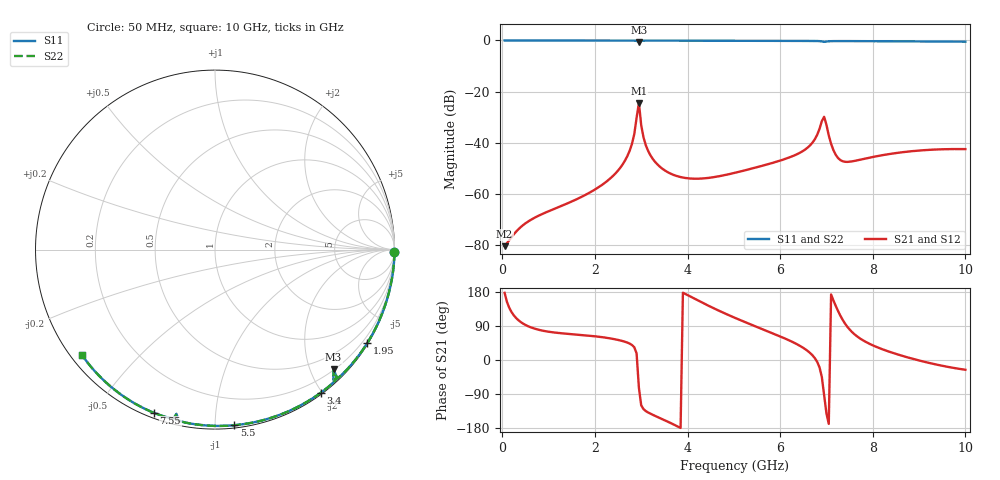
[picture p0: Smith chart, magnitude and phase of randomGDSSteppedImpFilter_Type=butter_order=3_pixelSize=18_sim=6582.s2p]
! freq	dB(S11)	phase(S11)	dB(S12)	phase(S12)
!  dB(S21)	phase(S21)	dB(S22)	phase(S22)
!S-par simulation data
#  GHz  S  DB  R 50
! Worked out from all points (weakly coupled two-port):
!   200 points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, 50 MHz to 10 GHz, reference 50 ohm
!   highest |S21| = -24.44 dB at 2.95 GHz (marker M1); lowest = -80.5 dB at 50 MHz (marker M2)
!   lowest |S11| = -0.5 dB at 2.95 GHz (marker M3), VSWR 31.82, Z = 10.5 - j119 ohm
!   |S11| at or under -10 dB: nowhere
!   |S22| runs from -0.5 to 0.0 dB; largest |S21 - S12| = 0
!   S11 on the Smith chart (normalised r, x): 50 MHz: open; 1.95 GHz: 0.03, -3.55; 3.4 GHz: 0.02, -1.99; 5.5 GHz: 0.02, -1.12; 7.55 GHz: 0.02, -0.69; 10 GHz: 0.03, -0.35
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0.05  -0.00 -0.8  -80.48 177.2  -80.48 177.2  -0.00 -0.8
0.6  -0.01 -9.8  -70.35 86.9  -70.35 86.9  -0.01 -9.8
1.75  -0.04 -28.3  -60.84 65.6  -60.84 65.6  -0.04 -28.3
1.95  -0.04 -31.4  -58.86 63.3  -58.86 63.3  -0.04 -31.4
2.35  -0.05 -37.8  -53.68 56.6  -53.68 56.6  -0.05 -37.7
2.65  -0.06 -42.5  -46.99 48.1  -46.99 48.1  -0.06 -42.5
2.8  -0.07 -45.1  -40.46 39.7  -40.46 39.7  -0.07 -45.1
2.95  -0.55 -45.3  -24.44 -73.5  -24.44 -73.5  -0.55 -45.3
3  -0.13 -46.4  -33.18 -119.7  -33.18 -119.7  -0.13 -46.4
3.1  -0.07 -48.6  -41.04 -134.9  -41.04 -134.9  -0.07 -48.6
3.4  -0.07 -53.5  -49.34 -152.9  -49.34 -152.9  -0.07 -53.5
4.05  -0.09 -63.2  -54.00 168.1  -54.00 168.1  -0.09 -63.2
5.05  -0.12 -77.5  -51.66 109.9  -51.66 109.9  -0.12 -77.5
5.5  -0.14 -83.8  -49.59 87.2  -49.59 87.2  -0.14 -83.7
6.3  -0.17 -94.6  -45.03 45.6  -45.03 45.6  -0.17 -94.6
6.7  -0.20 -100.2  -39.93 12.1  -39.93 12.1  -0.20 -100.2
6.95  -0.54 -103.2  -29.86 -93.4  -29.86 -93.4  -0.54 -103.2
7.1  -0.27 -104.2  -40.43 172.9  -40.43 172.9  -0.27 -104.2
7.2  -0.25 -105.8  -44.72 142.9  -44.72 142.9  -0.25 -105.7
7.55  -0.26 -110.5  -47.32 74.0  -47.32 74.0  -0.26 -110.5
8.35  -0.31 -120.7  -44.45 22.1  -44.45 22.1  -0.31 -120.7
10  -0.48 -141.5  -42.50 -25.8  -42.50 -25.8  -0.48 -141.5
